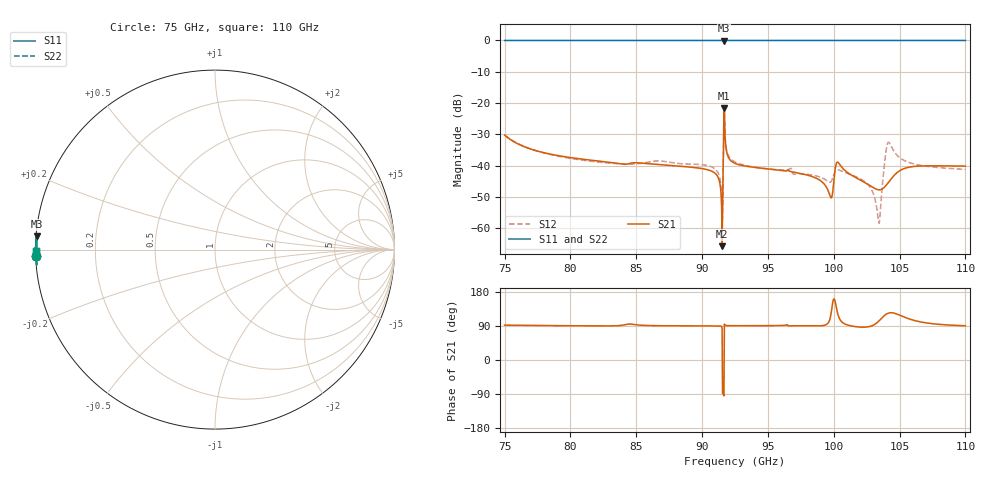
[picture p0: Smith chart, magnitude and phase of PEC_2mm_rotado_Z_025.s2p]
! TOUCHSTONE file generated by CST MICROWAVE STUDIO
! Date and time: Fri Feb 16 17:58:27 2024
! Project name: metal_rotado.cst
! Parameters = {angX=0.25; angY=2}
! Header version: 2018
! Port assignment regex: !\s*Touchstone port\s*([0-9]+)\s*=\s*(CST MWS port|CST DS port)\s*([0-9]+|Zmin|Zmax)\s*\(\"(.*)\"\)(\s*mode\s*([0-9]+))?.*
! Touchstone port assignment:
! Touchstone port 1 = CST MWS port 1 ("")
! Touchstone port 2 = CST MWS port 2 ("")
# GHz S MA R 376.7
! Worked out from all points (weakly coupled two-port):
!   1001 points, 75 GHz to 110 GHz, reference 376.7 ohm
!   highest |S21| = -21.67 dB at 91.66 GHz (marker M1); lowest = -65.7 dB at 91.52 GHz (marker M2)
!   lowest |S11| = 0.0 dB at 91.66 GHz (marker M3), VSWR 421.30, Z = 0.895 + j14.1 ohm
!   |S11| at or under -10 dB: nowhere
!   |S22| runs from -0.1 to 0.0 dB; largest |S21 - S12| = 0.019
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75  0.9995 -178.1  0.03081 91.9  0.03084 91.9  0.9995 -178.1
80.845  1 -179.0  0.01273 90.2  0.01226 90.4  0.9999 -179.0
86.69  1 -179.0  0.01041 90.5  0.01191 85.4  0.9999 -179.1
90.715  1 -179.1  0.008178 90.1  0.009579 84.4  0.9999 -179.2
91.205  1 -179.3  0.006561 89.9  0.007741 86.4  1 -179.3
91.38  1 -179.4  0.004776 89.6  0.005821 86.4  1 -179.4
91.52  1 -179.6  0.0005165 82.3  0.001379 78.0  1 -179.6
91.66  0.9953 175.7  0.08253 -94.7  0.0883 -95.8  0.9967 175.3
91.8  1 -178.5  0.0204 91.2  0.02148 90.8  0.9998 -178.5
92.01  1 -178.9  0.01343 90.7  0.0143 90.5  0.9999 -178.9
92.5  1 -179.1  0.01086 90.5  0.01143 91.0  0.9999 -179.0
98.345  0.9997 -179.5  0.006702 90.2  0.007071 89.8  1 -179.7
99.745  0.9997 -179.5  0.003199 112.9  0.005447 105.9  0.9936 -179.5
100.305  0.9998 -179.5  0.01136 121.9  0.008601 103.0  0.9976 -179.3
102.125  1 -179.5  0.005738 86.6  0.005985 88.7  1 -179.7
102.895  0.9985 -179.7  0.00459 90.2  0.004046 89.2  0.9999 -179.8
103.385  0.998 -179.4  0.004115 101.5  0.001342 126.5  0.9997 -179.8
103.56  0.9985 -179.4  0.004131 107.6  0.002154 -155.0  0.9996 -179.8
103.945  0.9991 -179.4  0.004746 120.0  0.01558 -161.8  0.9994 -179.8
104.19  0.9992 -179.4  0.005515 124.0  0.02351 147.6  0.9994 -179.8
105.8  0.9997 -179.4  0.009512 107.6  0.01108 95.8  0.9992 -179.8
110  0.9999 -179.4  0.009828 90.4  0.008717 91.2  1 -179.5
